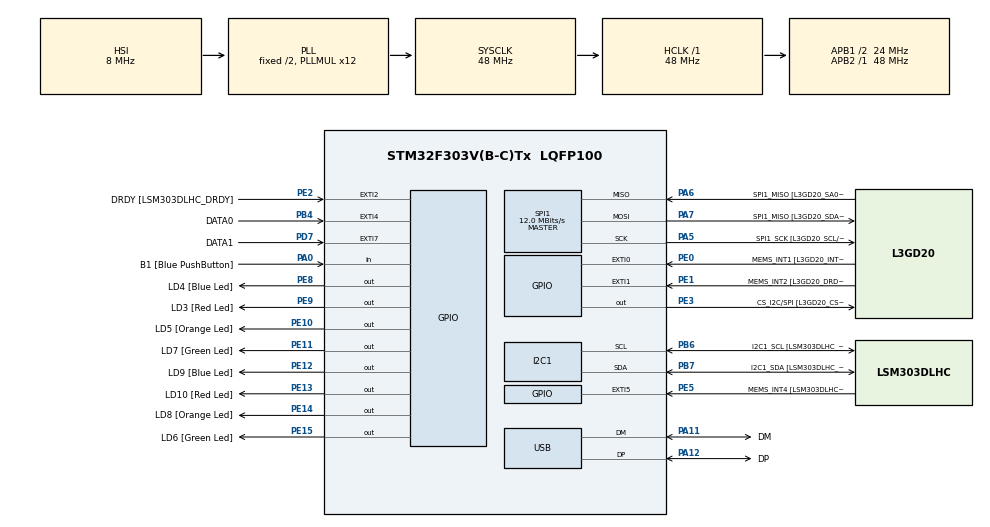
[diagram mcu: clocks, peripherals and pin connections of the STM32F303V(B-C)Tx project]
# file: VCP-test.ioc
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I2C1.Timing-I2C=0x2000090E
Mcu.Family=STM32F3
Mcu.Name=STM32F303V(B-C)Tx
Mcu.Package=LQFP100
NVIC.EXTI4_IRQn=true\:0\:0\:false\:false\:true\:true\:true\:true
NVIC.EXTI9_5_IRQn=true\:0\:0\:false\:false\:true\:true\:true\:true
NVIC.PriorityGroup=NVIC_PRIORITYGROUP_4
NVIC.USB_LP_CAN_RX0_IRQn=true\:0\:0\:false\:false\:true\:false\:true\:true
PA0.GPIO_Label=B1 [Blue PushButton]
PA0.Signal=GPIO_Input
PA11.GPIO_Label=DM
PA11.Mode=Device
PA11.Signal=USB_DM
PA12.GPIO_Label=DP
PA12.Mode=Device
PA12.Signal=USB_DP
PA13.GPIO_Label=SWDIO
PA13.Mode=Serial_Wire
PA13.Signal=SYS_JTMS-SWDIO
PA14.GPIO_Label=SWCLK
PA14.Mode=Serial_Wire
PA14.Signal=SYS_JTCK-SWCLK
PA5.GPIO_Label=SPI1_SCK [L3GD20_SCL/SPC]
PA5.Mode=Full_Duplex_Master
PA5.Signal=SPI1_SCK
PA6.GPIO_Label=SPI1_MISO [L3GD20_SA0/SDO]
PA6.Mode=Full_Duplex_Master
PA6.Signal=SPI1_MISO
PA7.GPIO_Label=SPI1_MISO [L3GD20_SDA/SDI/SDO]
PA7.Mode=Full_Duplex_Master
PA7.Signal=SPI1_MOSI
PB3.GPIO_Label=SWO
PB3.Signal=SYS_JTDO-TRACESWO
PB4.GPIO_Label=DATA0
PB4.Signal=GPXTI4
PB6.GPIO_Label=I2C1_SCL [LSM303DLHC_SCL]
PB6.GPIO_Pu=GPIO_PULLUP
PB6.Mode=I2C
PB6.Signal=I2C1_SCL
PB7.GPIO_Label=I2C1_SDA [LSM303DLHC_SDA]
PB7.GPIO_Pu=GPIO_PULLUP
PB7.Mode=I2C
PB7.Signal=I2C1_SDA
PC14-OSC32_IN.GPIO_Label=OSC32_IN
PC14-OSC32_IN.Mode=LSE-External-Oscillator
PC14-OSC32_IN.Signal=RCC_OSC32_IN
PC15-OSC32_OUT.GPIO_Label=OSC32_OUT
PC15-OSC32_OUT.Mode=LSE-External-Oscillator
PC15-OSC32_OUT.Signal=RCC_OSC32_OUT
PD7.GPIO_Label=DATA1
PD7.Signal=GPXTI7
PE0.GPIO_Label=MEMS_INT1 [L3GD20_INT1]
PE0.GPIO_ModeDefaultEXTI=GPIO_MODE_EVT_RISING
PE0.Signal=GPXTI0
PE1.GPIO_Label=MEMS_INT2 [L3GD20_DRDY/INT2]
PE1.GPIO_ModeDefaultEXTI=GPIO_MODE_EVT_RISING
PE1.Signal=GPXTI1
PE10.GPIO_Label=LD5 [Orange Led]
PE10.Signal=GPIO_Output
PE11.GPIO_Label=LD7 [Green Led]
PE11.Signal=GPIO_Output
PE12.GPIO_Label=LD9 [Blue Led]
PE12.Signal=GPIO_Output
PE13.GPIO_Label=LD10 [Red Led]
PE13.Signal=GPIO_Output
PE14.GPIO_Label=LD8 [Orange Led]
PE14.Signal=GPIO_Output
PE15.GPIO_Label=LD6 [Green Led]
PE15.Signal=GPIO_Output
PE2.GPIO_Label=DRDY [LSM303DLHC_DRDY]
PE2.GPIO_ModeDefaultEXTI=GPIO_MODE_EVT_RISING
PE2.Signal=GPXTI2
PE3.GPIO_Label=CS_I2C/SPI [L3GD20_CS_I2C/SPI]
PE3.Signal=GPIO_Output
PE5.GPIO_Label=MEMS_INT4 [LSM303DLHC_INT2]
PE5.GPIO_ModeDefaultEXTI=GPIO_MODE_EVT_RISING
PE5.Signal=GPXTI5
PE8.GPIO_Label=LD4 [Blue Led]
PE8.Signal=GPIO_Output
PE9.GPIO_Label=LD3 [Red Led]
PE9.Signal=GPIO_Output
PF0-OSC_IN.GPIO_Label=OSC_IN
PF0-OSC_IN.Signal=RCC_OSC_IN
PF1-OSC_OUT.GPIO_Label=OSC_OUT
PF1-OSC_OUT.Signal=RCC_OSC_OUT
ProjectManager.HeapSize=0x200
ProjectManager.StackSize=0x400
ProjectManager.TargetToolchain=STM32CubeIDE
RCC.AHBFreq_Value=48000000
RCC.APB1CLKDivider=RCC_HCLK_DIV2
RCC.APB1Freq_Value=24000000
RCC.APB1TimFreq_Value=48000000
RCC.APB2Freq_Value=48000000
RCC.APB2TimFreq_Value=48000000
RCC.CortexFreq_Value=48000000
RCC.HCLKFreq_Value=48000000
RCC.HSE_VALUE=8000000
RCC.HSI_VALUE=8000000
RCC.PLLMUL=RCC_PLL_MUL12
RCC.PLLSource=RCC_PLLSOURCE_HSI
RCC.PLLSourceVirtualString=RCC_PLLSOURCE_HSI
RCC.RTCClockSelection=RCC_RTCCLKSOURCE_LSE
RCC.SYSCLKFreq_VALUE=48000000
RCC.SYSCLKSourceVirtual=RCC_SYSCLKSOURCE_PLLCLK
RCC.USBFreq_Value=48000000
RTC.Format=RTC_FORMAT_BIN
RTC.Month=RTC_MONTH_AUGUST
RTC.Year=23
SPI1.BaudRatePrescaler=SPI_BAUDRATEPRESCALER_4
SPI1.BaudRatePrescaler-Full_Duplex_Master=SPI_BAUDRATEPRESCALER_2
SPI1.CalculateBaudRate=12.0 MBits/s
SPI1.CalculateBaudRate-Full_Duplex_Master=24.0 MBits/s
SPI1.Direction=SPI_DIRECTION_2LINES
SPI1.Mode=SPI_MODE_MASTER
SPI1.Mode-Full_Duplex_Master=SPI_MODE_MASTER
SPI1.VirtualType=VM_MASTER
USB_DEVICE.CLASS_NAME_FS=CDC
USB_DEVICE.VirtualMode=Cdc
USB_DEVICE.VirtualModeFS=Cdc_FS
VP_RTC_VS_RTC_Activate.Mode=RTC_Enabled
VP_RTC_VS_RTC_Calendar.Mode=RTC_Calendar
VP_USB_DEVICE_VS_USB_DEVICE_CDC_FS.Mode=CDC_FS
board=STM32F3DISCOVERY

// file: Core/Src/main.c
/* USER CODE BEGIN Header */
/**
  ******************************************************************************
  * @file           : main.c
  * @brief          : Main program body
  ******************************************************************************
  * @attention
  *
  * Copyright (c) 2023 STMicroelectronics.
  * All rights reserved.
  *
  * This software is licensed under terms that can be found in the LICENSE file
  * in the root directory of this software component.
  * If no LICENSE file comes with this software, it is provided AS-IS.
  *
  ******************************************************************************
  */
/* USER CODE END Header */
#include "main.h"
#include "usb_device.h"

/* USER CODE BEGIN Includes */

#include "flashMemory.h"
#include "rtc.h"
#include "usbd_cdc_if.h"
#include "logs.h"
#include "nfc_hid.h"
/* USER CODE END Includes */

 I2C_HandleTypeDef hi2c1;

RTC_HandleTypeDef hrtc;

SPI_HandleTypeDef hspi1;

void SystemClock_Config(void);
static void MX_GPIO_Init(void);
static void MX_I2C1_Init(void);
static void MX_SPI1_Init(void);
static void MX_RTC_Init(void);

/* USER CODE BEGIN 0 */
extern Logs_st logs;

extern RTC_TimeTypeDef Time;
extern RTC_DateTypeDef Date;

Card_st card;

uint8_t buffer[64];
/* USER CODE END 0 */

int main(void)
{

  /* MCU Configuration--------------------------------------------------------*/

  /* Reset of all peripherals, Initializes the Flash interface and the Systick. */
  HAL_Init();

  /* Configure the system clock */
  SystemClock_Config();

  /* Initialize all configured peripherals */
  MX_GPIO_Init();
  MX_I2C1_Init();
  MX_SPI1_Init();
  MX_USB_DEVICE_Init();
  MX_RTC_Init();
  /* USER CODE BEGIN 2 */
  logs_init(0x0802328F, 0x0803E800);
  logs.timestamp = RTC_ToEpoch(&Time, &Date);
  logs.card = 0x12345678;
  logs.action = LOCK_IDLE;
  logs.cell = 4;
//  for (uint32_t i = 0; i < 9010; i++)
//  {
//	  logs.timestamp++;
//	  logs_write(&logs);
//  }
//  nfcStartRun();
  /* USER CODE END 2 */

  /* Infinite loop */
  while (1)
  {

    /* USER CODE BEGIN 3 */
//	taskNfc();
//	HAL_Delay(200);

	if (strcmp((char *)buffer, "logs") == 0)
	{
		logs_read();
		memset (buffer, '\0', 64);
	}
  }
  /* USER CODE END 3 */
}

void SystemClock_Config(void)
{
  RCC_OscInitTypeDef RCC_OscInitStruct = {0};
  RCC_ClkInitTypeDef RCC_ClkInitStruct = {0};
  RCC_PeriphCLKInitTypeDef PeriphClkInit = {0};

  /** Configure LSE Drive Capability
  */
  HAL_PWR_EnableBkUpAccess();
  __HAL_RCC_LSEDRIVE_CONFIG(RCC_LSEDRIVE_LOW);

  /** Initializes the RCC Oscillators according to the specified parameters
  * in the RCC_OscInitTypeDef structure.
  */
  RCC_OscInitStruct.OscillatorType = RCC_OSCILLATORTYPE_HSI|RCC_OSCILLATORTYPE_LSE;
  RCC_OscInitStruct.LSEState = RCC_LSE_ON;
  RCC_OscInitStruct.HSIState = RCC_HSI_ON;
  RCC_OscInitStruct.HSICalibrationValue = RCC_HSICALIBRATION_DEFAULT;
  RCC_OscInitStruct.PLL.PLLState = RCC_PLL_ON;
  RCC_OscInitStruct.PLL.PLLSource = RCC_PLLSOURCE_HSI;
  RCC_OscInitStruct.PLL.PLLMUL = RCC_PLL_MUL12;
  if (HAL_RCC_OscConfig(&RCC_OscInitStruct) != HAL_OK)
  {
    Error_Handler();
  }

  /** Initializes the CPU, AHB and APB buses clocks
  */
  RCC_ClkInitStruct.ClockType = RCC_CLOCKTYPE_HCLK|RCC_CLOCKTYPE_SYSCLK
                              |RCC_CLOCKTYPE_PCLK1|RCC_CLOCKTYPE_PCLK2;
  RCC_ClkInitStruct.SYSCLKSource = RCC_SYSCLKSOURCE_PLLCLK;
  RCC_ClkInitStruct.AHBCLKDivider = RCC_SYSCLK_DIV1;
  RCC_ClkInitStruct.APB1CLKDivider = RCC_HCLK_DIV2;
  RCC_ClkInitStruct.APB2CLKDivider = RCC_HCLK_DIV1;

  if (HAL_RCC_ClockConfig(&RCC_ClkInitStruct, FLASH_LATENCY_1) != HAL_OK)
  {
    Error_Handler();
  }
  PeriphClkInit.PeriphClockSelection = RCC_PERIPHCLK_USB|RCC_PERIPHCLK_I2C1
                              |RCC_PERIPHCLK_RTC;
  PeriphClkInit.I2c1ClockSelection = RCC_I2C1CLKSOURCE_HSI;
  PeriphClkInit.RTCClockSelection = RCC_RTCCLKSOURCE_LSE;
  PeriphClkInit.USBClockSelection = RCC_USBCLKSOURCE_PLL;
  if (HAL_RCCEx_PeriphCLKConfig(&PeriphClkInit) != HAL_OK)
  {
    Error_Handler();
  }
}

static void MX_I2C1_Init(void)
{

  hi2c1.Instance = I2C1;
  hi2c1.Init.Timing = 0x2000090E;
  hi2c1.Init.OwnAddress1 = 0;
  hi2c1.Init.AddressingMode = I2C_ADDRESSINGMODE_7BIT;
  hi2c1.Init.DualAddressMode = I2C_DUALADDRESS_DISABLE;
  hi2c1.Init.OwnAddress2 = 0;
  hi2c1.Init.OwnAddress2Masks = I2C_OA2_NOMASK;
  hi2c1.Init.GeneralCallMode = I2C_GENERALCALL_DISABLE;
  hi2c1.Init.NoStretchMode = I2C_NOSTRETCH_DISABLE;
  if (HAL_I2C_Init(&hi2c1) != HAL_OK)
  {
    Error_Handler();
  }

  /** Configure Analogue filter
  */
  if (HAL_I2CEx_ConfigAnalogFilter(&hi2c1, I2C_ANALOGFILTER_ENABLE) != HAL_OK)
  {
    Error_Handler();
  }

  /** Configure Digital filter
  */
  if (HAL_I2CEx_ConfigDigitalFilter(&hi2c1, 0) != HAL_OK)
  {
    Error_Handler();
  }

}

static void MX_RTC_Init(void)
{

  RTC_TimeTypeDef sTime = {0};
  RTC_DateTypeDef sDate = {0};

  /** Initialize RTC Only
  */
  hrtc.Instance = RTC;
  hrtc.Init.HourFormat = RTC_HOURFORMAT_24;
  hrtc.Init.AsynchPrediv = 127;
  hrtc.Init.SynchPrediv = 255;
  hrtc.Init.OutPut = RTC_OUTPUT_DISABLE;
  hrtc.Init.OutPutPolarity = RTC_OUTPUT_POLARITY_HIGH;
  hrtc.Init.OutPutType = RTC_OUTPUT_TYPE_OPENDRAIN;
  if (HAL_RTC_Init(&hrtc) != HAL_OK)
  {
    Error_Handler();
  }

  /** Initialize RTC and set the Time and Date
  */
  sTime.Hours = 0;
  sTime.Minutes = 0;
  sTime.Seconds = 0;
  sTime.DayLightSaving = RTC_DAYLIGHTSAVING_NONE;
  sTime.StoreOperation = RTC_STOREOPERATION_RESET;
  if (HAL_RTC_SetTime(&hrtc, &sTime, RTC_FORMAT_BIN) != HAL_OK)
  {
    Error_Handler();
  }
  sDate.WeekDay = RTC_WEEKDAY_MONDAY;
  sDate.Month = RTC_MONTH_AUGUST;
  sDate.Date = 1;
  sDate.Year = 23;

  if (HAL_RTC_SetDate(&hrtc, &sDate, RTC_FORMAT_BIN) != HAL_OK)
  {
    Error_Handler();
  }

}

static void MX_SPI1_Init(void)
{

  /* SPI1 parameter configuration*/
  hspi1.Instance = SPI1;
  hspi1.Init.Mode = SPI_MODE_MASTER;
  hspi1.Init.Direction = SPI_DIRECTION_2LINES;
  hspi1.Init.DataSize = SPI_DATASIZE_4BIT;
  hspi1.Init.CLKPolarity = SPI_POLARITY_LOW;
  hspi1.Init.CLKPhase = SPI_PHASE_1EDGE;
  hspi1.Init.NSS = SPI_NSS_SOFT;
  hspi1.Init.BaudRatePrescaler = SPI_BAUDRATEPRESCALER_4;
  hspi1.Init.FirstBit = SPI_FIRSTBIT_MSB;
  hspi1.Init.TIMode = SPI_TIMODE_DISABLE;
  hspi1.Init.CRCCalculation = SPI_CRCCALCULATION_DISABLE;
  hspi1.Init.CRCPolynomial = 7;
  hspi1.Init.CRCLength = SPI_CRC_LENGTH_DATASIZE;
  hspi1.Init.NSSPMode = SPI_NSS_PULSE_ENABLE;
  if (HAL_SPI_Init(&hspi1) != HAL_OK)
  {
    Error_Handler();
  }

}

static void MX_GPIO_Init(void)
{
  GPIO_InitTypeDef GPIO_InitStruct = {0};

  /* GPIO Ports Clock Enable */
  __HAL_RCC_GPIOE_CLK_ENABLE();
  __HAL_RCC_GPIOC_CLK_ENABLE();
  __HAL_RCC_GPIOF_CLK_ENABLE();
  __HAL_RCC_GPIOA_CLK_ENABLE();
  __HAL_RCC_GPIOD_CLK_ENABLE();
  __HAL_RCC_GPIOB_CLK_ENABLE();

  /*Configure GPIO pin Output Level */
  HAL_GPIO_WritePin(GPIOE, CS_I2C_SPI_Pin|LD4_Pin|LD3_Pin|LD5_Pin
                          |LD7_Pin|LD9_Pin|LD10_Pin|LD8_Pin
                          |LD6_Pin, GPIO_PIN_RESET);

  /*Configure GPIO pins : DRDY_Pin MEMS_INT4_Pin MEMS_INT1_Pin MEMS_INT2_Pin */
  GPIO_InitStruct.Pin = DRDY_Pin|MEMS_INT4_Pin|MEMS_INT1_Pin|MEMS_INT2_Pin;
  GPIO_InitStruct.Mode = GPIO_MODE_EVT_RISING;
  GPIO_InitStruct.Pull = GPIO_NOPULL;
  HAL_GPIO_Init(GPIOE, &GPIO_InitStruct);

  /*Configure GPIO pins : CS_I2C_SPI_Pin LD4_Pin LD3_Pin LD5_Pin
                           LD7_Pin LD9_Pin LD10_Pin LD8_Pin
                           LD6_Pin */
  GPIO_InitStruct.Pin = CS_I2C_SPI_Pin|LD4_Pin|LD3_Pin|LD5_Pin
                          |LD7_Pin|LD9_Pin|LD10_Pin|LD8_Pin
                          |LD6_Pin;
  GPIO_InitStruct.Mode = GPIO_MODE_OUTPUT_PP;
  GPIO_InitStruct.Pull = GPIO_NOPULL;
  GPIO_InitStruct.Speed = GPIO_SPEED_FREQ_LOW;
  HAL_GPIO_Init(GPIOE, &GPIO_InitStruct);

  /*Configure GPIO pin : B1_Pin */
  GPIO_InitStruct.Pin = B1_Pin;
  GPIO_InitStruct.Mode = GPIO_MODE_INPUT;
  GPIO_InitStruct.Pull = GPIO_NOPULL;
  HAL_GPIO_Init(B1_GPIO_Port, &GPIO_InitStruct);

  /*Configure GPIO pin : DATA1_Pin */
  GPIO_InitStruct.Pin = DATA1_Pin;
  GPIO_InitStruct.Mode = GPIO_MODE_IT_RISING;
  GPIO_InitStruct.Pull = GPIO_NOPULL;
  HAL_GPIO_Init(DATA1_GPIO_Port, &GPIO_InitStruct);

  /*Configure GPIO pin : DATA0_Pin */
  GPIO_InitStruct.Pin = DATA0_Pin;
  GPIO_InitStruct.Mode = GPIO_MODE_IT_RISING;
  GPIO_InitStruct.Pull = GPIO_NOPULL;
  HAL_GPIO_Init(DATA0_GPIO_Port, &GPIO_InitStruct);

  /* EXTI interrupt init*/
  HAL_NVIC_SetPriority(EXTI4_IRQn, 0, 0);
  HAL_NVIC_EnableIRQ(EXTI4_IRQn);

  HAL_NVIC_SetPriority(EXTI9_5_IRQn, 0, 0);
  HAL_NVIC_EnableIRQ(EXTI9_5_IRQn);

}

void Error_Handler(void)
{
  __disable_irq();
  while (1)
  {
  }
}
